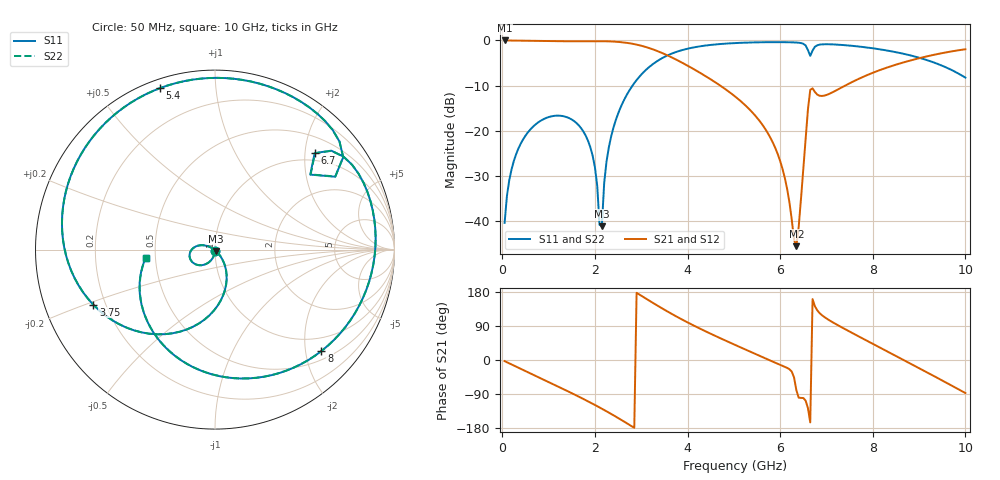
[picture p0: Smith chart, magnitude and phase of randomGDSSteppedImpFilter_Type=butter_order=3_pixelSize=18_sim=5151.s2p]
! freq	dB(S11)	phase(S11)	dB(S12)	phase(S12)
!  dB(S21)	phase(S21)	dB(S22)	phase(S22)
!S-par simulation data
#  GHz  S  DB  R 50
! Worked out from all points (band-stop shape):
!   200 points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, 50 MHz to 10 GHz, reference 50 ohm
!   highest |S21| = -0.01 dB at 50 MHz (marker M1); lowest = -45.5 dB at 6.35 GHz (marker M2)
!   |S21| within 3 dB of the highest: start of sweep to 3.502 GHz; 9.4 GHz to end of sweep
!   lowest |S11| = -41.1 dB at 2.15 GHz (marker M3), VSWR 1.02, Z = 50.4 - j0.771 ohm
!   |S11| at or under -10 dB: start of sweep to 2.811 GHz
!   |S22| runs from -41.2 to -0.4 dB; largest |S21 - S12| = 0
!   S11 on the Smith chart (normalised r, x): 50 MHz: 1.00, -0.02; 3.75 GHz: 0.15, -0.21; 5.4 GHz: 0.04, +0.71; 6.7 GHz: 0.83, +2.21; 8 GHz: 0.68, -2.33; 10 GHz: 0.44, -0.05
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0.05  -40.32 -92.0  -0.01 -3.0  -0.01 -3.0  -40.32 -92.0
0.25  -26.62 -104.6  -0.03 -14.7  -0.03 -14.7  -26.62 -104.6
0.6  -19.75 -125.4  -0.09 -35.0  -0.09 -35.0  -19.75 -125.5
1.75  -20.12 167.5  -0.17 -102.8  -0.17 -102.8  -20.12 167.4
2  -28.04 154.2  -0.16 -118.6  -0.16 -118.6  -28.05 153.8
2.15  -41.06 -59.7  -0.17 -128.5  -0.17 -128.5  -41.16 -57.9
2.25  -26.84 -50.4  -0.19 -135.3  -0.19 -135.3  -26.84 -50.1
2.45  -17.63 -62.0  -0.28 -149.4  -0.28 -149.4  -17.63 -61.9
3.4  -4.21 -131.4  -2.56 139.9  -2.56 139.9  -4.21 -131.4
3.75  -2.56 -155.6  -4.22 115.5  -4.22 115.5  -2.56 -155.7
4.35  -1.18 167.2  -7.65 78.0  -7.65 78.0  -1.18 167.1
5.05  -0.57 128.1  -12.58 38.5  -12.58 38.5  -0.57 128.0
5.4  -0.44 108.9  -15.91 19.5  -15.91 19.5  -0.44 108.9
6  -0.38 75.0  -26.66 -12.7  -26.66 -12.7  -0.38 74.9
6.35  -0.47 53.0  -45.48 -79.5  -45.48 -79.5  -0.47 52.9
6.6  -2.12 31.2  -15.26 -127.0  -15.26 -127.0  -2.11 31.3
6.7  -2.24 44.1  -10.59 160.8  -10.59 160.8  -2.23 44.0
7.25  -0.94 4.3  -10.83 91.5  -10.83 91.5  -0.94 4.3
8  -1.73 -43.6  -7.15 42.6  -7.15 42.6  -1.73 -43.5
8.35  -2.30 -65.8  -5.85 20.2  -5.85 20.2  -2.30 -65.7
9.2  -4.45 -120.1  -3.45 -34.5  -3.45 -34.5  -4.45 -119.9
10  -8.22 -173.5  -1.95 -87.2  -1.95 -87.2  -8.22 -173.2
